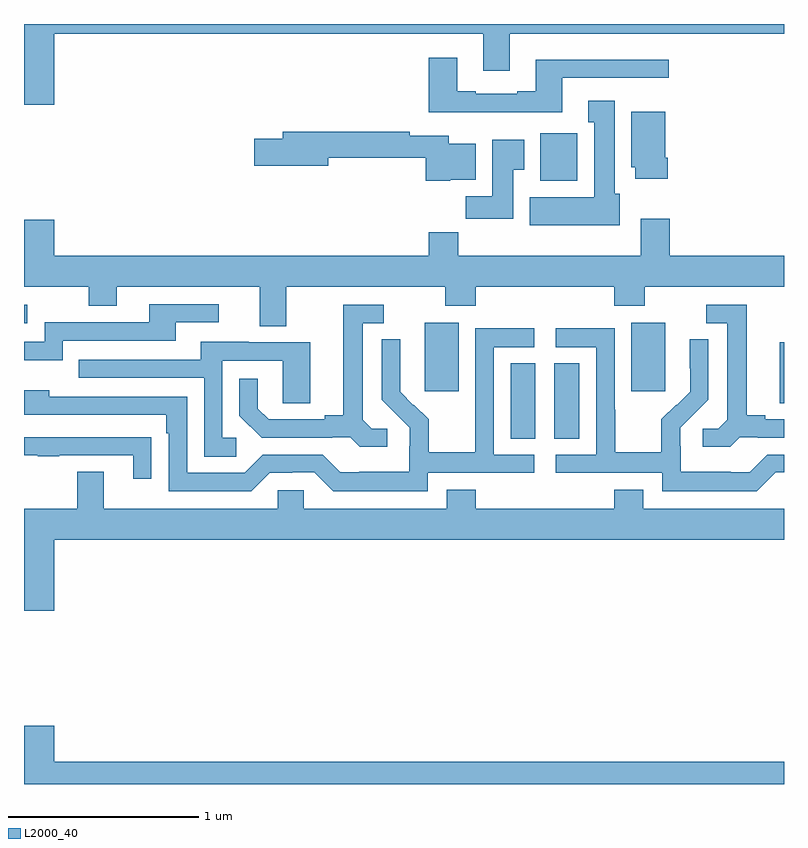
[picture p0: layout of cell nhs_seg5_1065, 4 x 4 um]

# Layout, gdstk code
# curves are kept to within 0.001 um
import gdstk
lib = gdstk.Library(unit=1e-6, precision=1e-09)
def R(c, l, rs):  # rectangles x0, y0, x1, y1
    for r in rs: c.add(gdstk.rectangle(r[:2], r[2:], *l))
def P(c, l, *ps):  # polygons
    for p in ps: c.add(gdstk.Polygon(p, *l))
L2000_40 = (2000, 40)

nhs_seg5_1065 = lib.new_cell('nhs_seg5_1065')
R(nhs_seg5_1065, L2000_40, [(179.561,866.617,179.692,867.014), (179.792,866.617,179.923,867.014), (180.977,866.803,181,867.123), (179.108,866.865,179.287,867.226), (180.197,866.865,180.376,867.226), (177,867.225,177.016,867.321), (179.717,867.974,179.913,868.225)])
P(nhs_seg5_1065, L2000_40, [(177.16,868.748),(179.417,868.748),(179.417,868.554),(179.557,868.554),(179.557,868.748),(181,868.748),(181,868.799),(177,868.799),(177,868.374),(177.16,868.374)],
  [(179.833,868.515),(180.394,868.515),(180.394,868.612),(179.693,868.612),(179.693,868.444),(179.597,868.444),(179.597,868.431),(179.377,868.431),(179.377,868.444),(179.281,868.444),(179.281,868.621),(179.129,868.621),(179.129,868.334),(179.833,868.334)],
  [(180.136,867.906),(180.109,867.906),(180.109,868.396),(179.969,868.396),(179.969,868.283),(180.002,868.283),(180.002,867.886),(179.663,867.886),(179.663,867.74),(180.136,867.74)],
  [(180.389,868.096),(180.376,868.096),(180.376,868.336),(180.197,868.336),(180.197,868.044),(180.218,868.044),(180.218,867.984),(180.389,867.984)],
  [(179.244,867.98),(179.377,867.98),(179.377,868.168),(179.236,868.168),(179.236,868.212),(179.03,868.212),(179.03,868.232),(178.361,868.232),(178.361,868.196),(178.212,868.196),(178.212,868.054),(178.6,868.054),(178.6,868.096),(179.114,868.096),(179.114,867.974),(179.244,867.974)],
  [(179.575,868.033),(179.632,868.033),(179.632,868.189),(179.465,868.189),(179.465,867.892),(179.326,867.892),(179.326,867.774),(179.575,867.774)],
  [(178.381,867.416),(179.218,867.416),(179.218,867.317),(179.378,867.317),(179.378,867.416),(180.107,867.416),(180.107,867.317),(180.267,867.317),(180.267,867.416),(181,867.416),(181,867.58),(180.398,867.58),(180.398,867.775),(180.245,867.775),(180.245,867.58),(179.285,867.58),(179.285,867.704),(179.129,867.704),(179.129,867.58),(177.16,867.58),(177.16,867.769),(177,867.769),(177,867.416),(177.34,867.416),(177.34,867.317),(177.487,867.317),(177.487,867.416),(178.241,867.416),(178.241,867.208),(178.381,867.208)],
  [(177.204,867.132),(177.799,867.132),(177.799,867.228),(178.024,867.228),(178.024,867.324),(177.659,867.324),(177.659,867.228),(177.108,867.228),(177.108,867.126),(177,867.126),(177,867.029),(177.204,867.029)],
  [(178.912,866.67),(178.83,866.67),(178.783,866.717),(178.783,867.225),(178.894,867.225),(178.894,867.321),(178.679,867.321),(178.679,866.741),(178.583,866.741),(178.583,866.718),(178.288,866.718),(178.231,866.775),(178.231,866.932),(178.134,866.932),(178.134,866.738),(178.25,866.622),(178.622,866.622),(178.622,866.625),(178.716,866.625),(178.768,866.573),(178.912,866.573)],
  [(180.768,866.625),(180.862,866.625),(180.862,866.622),(181,866.622),(181,866.718),(180.901,866.718),(180.901,866.741),(180.805,866.741),(180.805,867.321),(180.591,867.321),(180.591,867.225),(180.701,867.225),(180.701,866.717),(180.654,866.67),(180.573,866.67),(180.573,866.573),(180.716,866.573)],
  [(180.957,866.439),(181,866.439),(181,866.532),(180.912,866.532),(180.819,866.439),(180.719,866.439),(180.719,866.443),(180.456,866.443),(180.456,866.577),(180.454,866.577),(180.454,866.674),(180.6,866.822),(180.6,867.14),(180.504,867.14),(180.504,866.986),(180.506,866.986),(180.506,866.864),(180.435,866.793),(180.432,866.796),(180.355,866.719),(180.355,866.545),(180.111,866.545),(180.111,866.768),(180.108,866.768),(180.108,867.198),(179.799,867.198),(179.799,867.099),(180.012,867.099),(180.012,866.532),(179.799,866.532),(179.799,866.436),(180.36,866.436),(180.36,866.339),(180.857,866.339)],
  [(179.124,866.436),(179.686,866.436),(179.686,866.532),(179.472,866.532),(179.472,867.099),(179.686,867.099),(179.686,867.198),(179.376,867.198),(179.376,866.768),(179.374,866.768),(179.374,866.545),(179.129,866.545),(179.129,866.719),(179.052,866.796),(179.049,866.793),(178.979,866.864),(178.98,867.14),(178.884,867.14),(178.884,866.822),(179.03,866.674),(179.03,866.577),(179.028,866.577),(179.028,866.443),(178.765,866.443),(178.765,866.439),(178.665,866.439),(178.572,866.532),(178.257,866.532),(178.161,866.436),(177.858,866.436),(177.858,866.838),(177.134,866.838),(177.134,866.872),(177,866.872),(177,866.742),(177.749,866.742),(177.749,866.645),(177.762,866.645),(177.762,866.34),(178.197,866.34),(178.293,866.436),(178.412,866.436),(178.412,866.439),(178.527,866.439),(178.627,866.339),(179.124,866.339)],
  [(178.117,866.622),(178.044,866.622),(178.044,867.027),(178.362,867.027),(178.362,866.803),(178.507,866.803),(178.507,867.123),(178.183,867.123),(178.183,867.127),(177.929,867.127),(177.929,867.033),(177.289,867.033),(177.289,866.937),(177.948,866.937),(177.948,866.521),(178.117,866.521)],
  [(177.671,866.624),(177.569,866.624),(177.569,866.625),(177,866.625),(177,866.529),(177.073,866.529),(177.073,866.524),(177.185,866.524),(177.185,866.529),(177.575,866.529),(177.575,866.406),(177.671,866.406)],
  [(177.16,866.084),(181,866.084),(181,866.248),(180.259,866.248),(180.259,866.347),(180.107,866.347),(180.107,866.248),(179.378,866.248),(179.378,866.347),(179.225,866.347),(179.225,866.248),(178.473,866.248),(178.473,866.346),(178.335,866.346),(178.335,866.248),(177.421,866.248),(177.421,866.443),(177.281,866.443),(177.281,866.248),(177,866.248),(177,865.71),(177.16,865.71)],
  [(181,864.916),(177.16,864.916),(177.16,865.105),(177,865.105),(177,864.799),(181,864.799)])

lib.write_gds('nhs_seg5_1065.gds')
